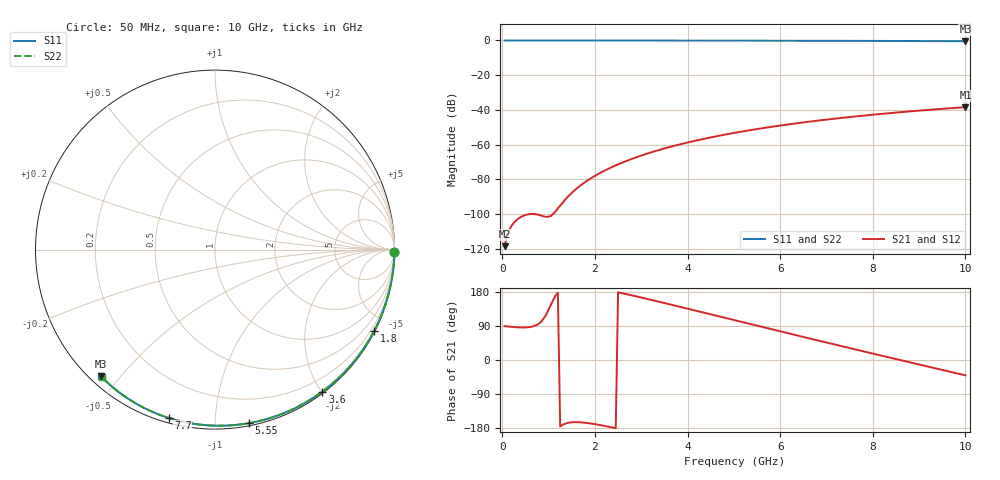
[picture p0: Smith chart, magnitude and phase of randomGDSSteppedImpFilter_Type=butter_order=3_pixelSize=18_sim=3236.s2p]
! freq	dB(S11)	phase(S11)	dB(S12)	phase(S12)
!  dB(S21)	phase(S21)	dB(S22)	phase(S22)
!S-par simulation data
#  GHz  S  DB  R 50
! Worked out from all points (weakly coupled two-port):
!   200 points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, 50 MHz to 10 GHz, reference 50 ohm
!   highest |S21| = -38.44 dB at 10 GHz (marker M1); lowest = -118.5 dB at 50 MHz (marker M2)
!   lowest |S11| = -0.4 dB at 10 GHz (marker M3), VSWR 38.81, Z = 1.54 - j22.3 ohm
!   |S11| at or under -10 dB: nowhere
!   |S22| runs from -0.4 to 0.0 dB; largest |S21 - S12| = 0
!   S11 on the Smith chart (normalised r, x): 50 MHz: open; 1.8 GHz: 0.04, -4.16; 3.6 GHz: 0.02, -2.01; 5.55 GHz: 0.02, -1.21; 7.7 GHz: 0.02, -0.76; 10 GHz: 0.03, -0.45
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0.05  -0.00 -0.8  -118.52 89.3  -118.52 89.3  -0.00 -0.8
0.9  -0.02 -13.6  -101.37 110.8  -101.37 110.8  -0.02 -13.6
1.75  -0.03 -26.3  -82.32 -165.1  -82.32 -165.1  -0.03 -26.3
1.8  -0.03 -27.0  -81.38 -165.7  -81.38 -165.7  -0.03 -27.0
1.85  -0.04 -27.8  -80.48 -166.5  -80.48 -166.5  -0.04 -27.7
1.9  -0.04 -28.5  -79.62 -167.3  -79.62 -167.3  -0.04 -28.5
2.05  -0.04 -30.7  -77.24 -170.3  -77.24 -170.3  -0.04 -30.7
2.25  -0.04 -33.6  -74.43 -174.9  -74.43 -174.9  -0.04 -33.6
2.45  -0.05 -36.5  -71.95 -179.9  -71.95 -179.9  -0.05 -36.5
2.65  -0.05 -39.4  -69.73 174.7  -69.73 174.7  -0.05 -39.3
3  -0.06 -44.4  -66.32 164.9  -66.32 164.9  -0.06 -44.3
3.4  -0.07 -50.1  -62.98 153.3  -62.98 153.3  -0.07 -50.0
3.6  -0.07 -52.9  -61.49 147.4  -61.49 147.4  -0.07 -52.8
4.3  -0.09 -62.5  -56.98 126.6  -56.98 126.6  -0.09 -62.4
5.05  -0.11 -72.5  -53.05 104.1  -53.05 104.1  -0.11 -72.3
5.55  -0.13 -79.0  -50.82 89.1  -50.82 89.1  -0.13 -78.8
6.1  -0.15 -86.0  -48.65 72.7  -48.65 72.7  -0.15 -85.8
6.7  -0.18 -93.4  -46.55 54.9  -46.55 54.9  -0.18 -93.2
7.7  -0.24 -105.4  -43.57 25.6  -43.57 25.6  -0.24 -105.3
8.35  -0.29 -113.1  -41.90 6.8  -41.90 6.8  -0.29 -112.9
9.15  -0.36 -122.3  -40.10 -16.2  -40.10 -16.2  -0.36 -122.1
10  -0.45 -131.9  -38.44 -40.5  -38.44 -40.5  -0.45 -131.7
